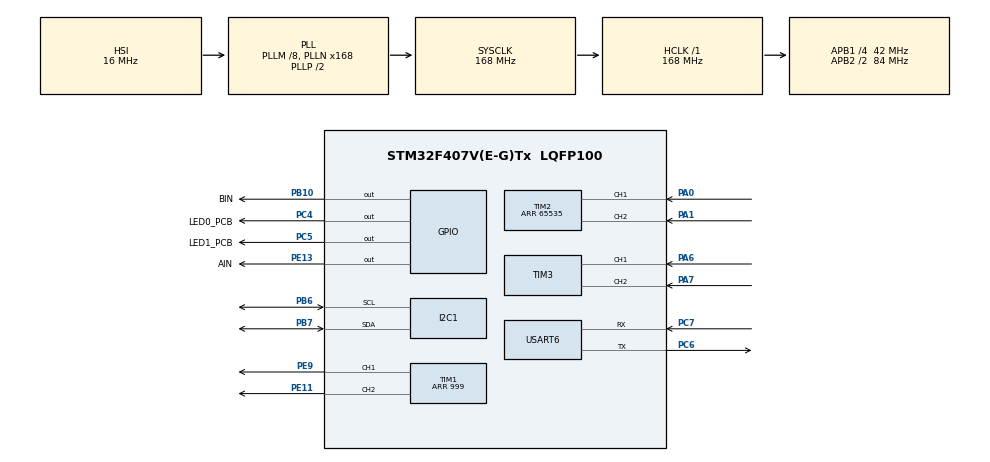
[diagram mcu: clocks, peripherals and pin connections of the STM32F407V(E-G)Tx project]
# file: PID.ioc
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Mcu.Family=STM32F4
Mcu.Name=STM32F407V(E-G)Tx
Mcu.Package=LQFP100
NVIC.PriorityGroup=NVIC_PRIORITYGROUP_4
NVIC.TIM4_IRQn=true\:0\:0\:false\:false\:true\:true\:true\:true
NVIC.USART6_IRQn=true\:0\:0\:false\:false\:true\:true\:true\:true
PA0-WKUP.Signal=S_TIM2_CH1_ETR
PA1.Signal=S_TIM2_CH2
PA13.Mode=Serial_Wire
PA13.Signal=SYS_JTMS-SWDIO
PA14.Mode=Serial_Wire
PA14.Signal=SYS_JTCK-SWCLK
PA6.Signal=S_TIM3_CH1
PA7.Signal=S_TIM3_CH2
PB10.GPIO_Label=BIN
PB10.Signal=GPIO_Output
PB6.Mode=I2C
PB6.Signal=I2C1_SCL
PB7.Mode=I2C
PB7.Signal=I2C1_SDA
PC4.GPIO_Label=LED0_PCB
PC4.Signal=GPIO_Output
PC5.GPIO_Label=LED1_PCB
PC5.Signal=GPIO_Output
PC6.Mode=Asynchronous
PC6.Signal=USART6_TX
PC7.Mode=Asynchronous
PC7.Signal=USART6_RX
PE11.Signal=S_TIM1_CH2
PE13.GPIO_Label=AIN
PE13.Signal=GPIO_Output
PE9.Signal=S_TIM1_CH1
PH0-OSC_IN.Mode=HSE-External-Oscillator
PH0-OSC_IN.Signal=RCC_OSC_IN
PH1-OSC_OUT.Mode=HSE-External-Oscillator
PH1-OSC_OUT.Signal=RCC_OSC_OUT
ProjectManager.HeapSize=0x200
ProjectManager.StackSize=0x400
ProjectManager.TargetToolchain=MDK-ARM V5.32
RCC.48MHZClocksFreq_Value=84000000
RCC.AHBFreq_Value=168000000
RCC.APB1CLKDivider=RCC_HCLK_DIV4
RCC.APB1Freq_Value=42000000
RCC.APB1TimFreq_Value=84000000
RCC.APB2CLKDivider=RCC_HCLK_DIV2
RCC.APB2Freq_Value=84000000
RCC.APB2TimFreq_Value=168000000
RCC.CortexFreq_Value=168000000
RCC.HCLKFreq_Value=168000000
RCC.HSE_VALUE=25000000
RCC.HSI_VALUE=16000000
RCC.LSE_VALUE=32768
RCC.PLLM=8
RCC.PLLN=168
RCC.SYSCLKFreq_VALUE=168000000
RCC.SYSCLKSource=RCC_SYSCLKSOURCE_PLLCLK
RCC.VCOOutputFreq_Value=336000000
SH.S_TIM1_CH1.0=TIM1_CH1,PWM Generation1 CH1
SH.S_TIM1_CH2.0=TIM1_CH2,PWM Generation2 CH2
SH.S_TIM2_CH1_ETR.0=TIM2_CH1,Encoder_Interface
SH.S_TIM2_CH2.0=TIM2_CH2,Encoder_Interface
SH.S_TIM3_CH1.0=TIM3_CH1,Encoder_Interface
SH.S_TIM3_CH2.0=TIM3_CH2,Encoder_Interface
TIM1.Channel-PWM\ Generation1\ CH1=TIM_CHANNEL_1
TIM1.Channel-PWM\ Generation2\ CH2=TIM_CHANNEL_2
TIM1.Period=999
TIM2.EncoderMode=TIM_ENCODERMODE_TI12
TIM2.Period=65535
TIM3.EncoderMode=TIM_ENCODERMODE_TI12
TIM4.AutoReloadPreload=TIM_AUTORELOAD_PRELOAD_DISABLE
TIM4.Period=999
TIM4.Prescaler=83
USART6.VirtualMode=VM_ASYNC
VP_TIM1_VS_ClockSourceINT.Mode=Internal
VP_TIM4_VS_ClockSourceINT.Mode=Internal
board=custom

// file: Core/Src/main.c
/* USER CODE BEGIN Header */
/**
  ******************************************************************************
  * @file           : main.c
  * @brief          : Main program body
  ******************************************************************************
  * @attention
  *
  * Copyright (c) 2026 STMicroelectronics.
  * All rights reserved.
  *
  * This software is licensed under terms that can be found in the LICENSE file
  * in the root directory of this software component.
  * If no LICENSE file comes with this software, it is provided AS-IS.
  *
  ******************************************************************************
  */
/* USER CODE END Header */
#include "main.h"
#include "i2c.h"
#include "tim.h"
#include "usart.h"
#include "gpio.h"

/* USER CODE BEGIN Includes */

#include "./Log.h"
#include "Motor_AT4950.h"
#include "./PID_Node.h"
#include <stdbool.h>
#include <stdlib.h>
// #include "mpu6050_user.h"

/* USER CODE END Includes */

/* USER CODE BEGIN PD */

#define WHEEL_CIRCUMFERENCE 0.1508f   // 车轮周长 m
#define EFFECTIVE_PPR 1040            // 每转脉冲数
// #define ENCODER_DIFF_LIMIT   100    // 单周期最大合理增量，按你的实际调整
// #define ENCODER_DIFF_DEAD    0.5f   // 死区，噪声

// #define ENCODER_DIFF_LIMIT   300     // 单周期最大合理增量，根据实际调整
// #define ENCODER_DEAD_ZONE    2       // 增量死区
// #define MED_N                5       // 中值滤波窗口（奇数）
// #define AVG_N                6       // 滑动平均窗口
// #define SPEED_LPF_ALPHA      0.15f   // 速度一阶低通系数
/* USER CODE END PD */

/* USER CODE BEGIN PM */

//串口发送函数
void ysy_tx(const char* buffer, size_t buffer_size)
{
  HAL_UART_Transmit(&huart6,(uint8_t*)buffer,buffer_size,100);
}

// ========== 左轮底层函数 ==========
// 假设左轮PWM用定时器1的通道1（ARR=10000），IN1接PA1
void Left_PWM_Set(uint16_t ccr_value) {
    __HAL_TIM_SET_COMPARE(&htim1, TIM_CHANNEL_1, ccr_value);
}
void Left_IN1_Set(uint8_t level) {
    HAL_GPIO_WritePin(AIN_GPIO_Port, AIN_Pin, level);
}

// ========== 右轮底层函数 ==========
// 假设右轮PWM用定时器1的通道2（ARR=10000），IN1接PA2
void Right_PWM_Set(uint16_t ccr_value) {
    __HAL_TIM_SET_COMPARE(&htim1, TIM_CHANNEL_2, ccr_value);
}
void Right_IN1_Set(uint8_t level) {
    HAL_GPIO_WritePin(BIN_GPIO_Port, BIN_Pin, level);
}

/* USER CODE END PM */

/* USER CODE BEGIN PV */

MotorAT4950 motor1;
MotorAT4950 motor2;
PID_Node motor1_Pid;
PID_Node motor2_Pid;

/* 走直线参数 */
float   line_speed     = 0.5f;      // 基础速度 m/s
int32_t total_pulse_L  = 0;         // 左轮累计脉冲
int32_t total_pulse_R  = 0;         // 右轮累计脉冲
float   sync_integral  = 0.0f;      // 同步 PI 积分

/* 同步 PI 参数，先给初值，后面调 */
#define SYNC_KP  0.0005f
#define SYNC_KI  0.00002f
#define SYNC_LIMIT 0.3f

// /* ★ 新增：航向环 */
// PID_Node  yaw_Pid;
// float     target_yaw      = 0.0f;
// float     yaw_correction  = 0.0f;

// #define YAW_KP            3.0f
// #define YAW_KI            0.05f
// #define YAW_KD            0.8f
// #define YAW_OUTPUT_LIMIT  0.4f
// #define YAW_DEADBAND      0.5f

/* USER CODE END PV */

void SystemClock_Config(void);
/* USER CODE BEGIN PFP */

float Actual_Speed_A = 0;
float Actual_Speed_B = 0;

/* USER CODE END PFP */

/* USER CODE BEGIN 0 */

 // 编码器速度反馈（在中断中调用）
void Control_UpdateSpeedFeedback(int32_t diff_A, int32_t diff_B, float dt)
{
	//     // ---- 1. 增量限幅，防止噪声尖峰 ----
  //  if (diff_A >  ENCODER_DIFF_LIMIT) diff_A =  ENCODER_DIFF_LIMIT;
  //  if (diff_A < -ENCODER_DIFF_LIMIT) diff_A = -ENCODER_DIFF_LIMIT;
  //  if (diff_B >  ENCODER_DIFF_LIMIT) diff_B =  ENCODER_DIFF_LIMIT;
  //  if (diff_B < -ENCODER_DIFF_LIMIT) diff_B = -ENCODER_DIFF_LIMIT;

	// 	    // 2. 死区：如果增量很小，直接当0，防止静止抖动
  //  if (abs(diff_A) < 2) diff_A = 0;
  //  if (abs(diff_B) < 2) diff_B = 0;

    if (dt > 0.0f) {
        float dt_ms = dt / 1000.0f;
        Actual_Speed_A = (diff_A * WHEEL_CIRCUMFERENCE) / (EFFECTIVE_PPR * dt_ms);
        Actual_Speed_B =  (diff_B * WHEEL_CIRCUMFERENCE) / (EFFECTIVE_PPR * dt_ms);
    }

    // 简单低通滤波
    static float filtered_A = 0, filtered_B = 0;
    filtered_A = 0.8f * filtered_A + 0.2f * Actual_Speed_A;
    filtered_B = 0.8f * filtered_B + 0.2f * Actual_Speed_B;
    Actual_Speed_A = filtered_A;
    Actual_Speed_B = filtered_B;

// 			    // ---- 1. 增量限幅，防止噪声尖峰 ----
//    if (diff_A >  ENCODER_DIFF_LIMIT) diff_A =  ENCODER_DIFF_LIMIT;
//    if (diff_A < -ENCODER_DIFF_LIMIT) diff_A = -ENCODER_DIFF_LIMIT;
//    if (diff_B >  ENCODER_DIFF_LIMIT) diff_B =  ENCODER_DIFF_LIMIT;
//    if (diff_B < -ENCODER_DIFF_LIMIT) diff_B = -ENCODER_DIFF_LIMIT;

//    // ---- 2. 死区，防止静止抖动 ----
//    if (abs(diff_A) < ENCODER_DEAD_ZONE) diff_A = 0;
//    if (abs(diff_B) < ENCODER_DEAD_ZONE) diff_B = 0;

//    // ---- 3. 计算原始速度 ----
//    float spd_A = 0, spd_B = 0;
//    if (dt > 0.0f) {
//        float dt_s = dt / 1000.0f;
//        spd_A = (diff_A * WHEEL_CIRCUMFERENCE) / (EFFECTIVE_PPR * dt_s);
//        spd_B = (diff_B * WHEEL_CIRCUMFERENCE) / (EFFECTIVE_PPR * dt_s);
//    }

//    // ---- 4. 中值滤波（去单点尖峰） ----
//    static float med_buf_A[MED_N] = {0}, med_buf_B[MED_N] = {0};
//    static int   med_idx_A = 0, med_idx_B = 0;

//    med_buf_A[med_idx_A] = spd_A;
//    med_idx_A = (med_idx_A + 1) % MED_N;
//    float tmp_A[MED_N];
//    for (int i = 0; i < MED_N; i++) tmp_A[i] = med_buf_A[i];
//    for (int i = 0; i < MED_N - 1; i++) {
//        for (int j = 0; j < MED_N - 1 - i; j++) {
//            if (tmp_A[j] > tmp_A[j + 1]) {
//                float t = tmp_A[j]; tmp_A[j] = tmp_A[j + 1]; tmp_A[j + 1] = t;
//            }
//        }
//    }
//    spd_A = tmp_A[MED_N / 2];

//    med_buf_B[med_idx_B] = spd_B;
//    med_idx_B = (med_idx_B + 1) % MED_N;
//    float tmp_B[MED_N];
//    for (int i = 0; i < MED_N; i++) tmp_B[i] = med_buf_B[i];
//    for (int i = 0; i < MED_N - 1; i++) {
//        for (int j = 0; j < MED_N - 1 - i; j++) {
//            if (tmp_B[j] > tmp_B[j + 1]) {
//                float t = tmp_B[j]; tmp_B[j] = tmp_B[j + 1]; tmp_B[j + 1] = t;
//            }
//        }
//    }
//    spd_B = tmp_B[MED_N / 2];

//    // ---- 5. 滑动平均 ----
//    static float avg_buf_A[AVG_N] = {0}, avg_buf_B[AVG_N] = {0};
//    static int   avg_idx_A = 0, avg_idx_B = 0;

//    avg_buf_A[avg_idx_A] = spd_A;
//    avg_idx_A = (avg_idx_A + 1) % AVG_N;
//    float sum_A = 0;
//    for (int i = 0; i < AVG_N; i++) sum_A += avg_buf_A[i];
//    spd_A = sum_A / AVG_N;

//    avg_buf_B[avg_idx_B] = spd_B;
//    avg_idx_B = (avg_idx_B + 1) % AVG_N;
//    float sum_B = 0;
//    for (int i = 0; i < AVG_N; i++) sum_B += avg_buf_B[i];
//    spd_B = sum_B / AVG_N;

//    // ---- 6. 一阶低通滤波 ----
//    static float filtered_A = 0, filtered_B = 0;
//    filtered_A = (1.0f - SPEED_LPF_ALPHA) * filtered_A + SPEED_LPF_ALPHA * spd_A;
//    filtered_B = (1.0f - SPEED_LPF_ALPHA) * filtered_B + SPEED_LPF_ALPHA * spd_B;

//    Actual_Speed_A = filtered_A;
//    Actual_Speed_B = filtered_B;
}

// /* ★ 新增：角度误差归一化 */
// static float NormalizeAngleError(float error)
// {
//     while (error >  180.0f) error -= 360.0f;
//     while (error < -180.0f) error += 360.0f;
//     return error;
// }

// /* ★ 新增：航向环的误差计算（带死区） */
// static float YawErrorCalculation(float setpoint, float measured)
// {
//     float err = NormalizeAngleError(setpoint - measured);
//     if (fabsf(err) < YAW_DEADBAND) err = 0.0f;
//     return err;
// }

/* USER CODE END 0 */

int main(void)
{

  /* MCU Configuration--------------------------------------------------------*/

  /* Reset of all peripherals, Initializes the Flash interface and the Systick. */
  HAL_Init();

  /* Configure the system clock */
  SystemClock_Config();

  /* Initialize all configured peripherals */
  MX_GPIO_Init();
  MX_TIM1_Init();
  MX_USART6_UART_Init();
  MX_TIM2_Init();
  MX_TIM3_Init();
  MX_TIM4_Init();
  MX_I2C1_Init();
  /* USER CODE BEGIN 2 */

  //开启PWM输出
  HAL_TIM_PWM_Start(&htim1,TIM_CHANNEL_1);
  HAL_TIM_PWM_Start(&htim1,TIM_CHANNEL_2);

  //开启编码器模式
  HAL_TIM_Encoder_Start(&htim2, TIM_CHANNEL_ALL);
  HAL_TIM_Encoder_Start(&htim3, TIM_CHANNEL_ALL);

  //初始化电机驱动
  MotorInit_AT46950(&motor1 ,Left_PWM_Set,Left_IN1_Set,1000);
  MotorInit_AT46950(&motor2 ,Right_PWM_Set,Right_IN1_Set,1000);

  //设置电机初始方向
  SetDefaultDirection(&motor1,High_Level);
  SetDefaultDirection(&motor2,High_Level);

  //设置电机初始速度
  Motor_setSpeed(&motor1,0);
  Motor_setSpeed(&motor2,0);

  //初始化Log日志模块
  LOG_Init(ysy_tx);
  //设置日志输出等级为DEBUG
  LOG_Set_Level(LOG_LEVEL_DEBUG);

  //初始化PID控制器
  PID_Node_Init(&motor1_Pid, "Motor1_PID", 700.0f, 3.0f, 3.0f);
  PID_Node_Init(&motor2_Pid, "Motor2_PID", 700.0f, 3.0f, 3.0f);

  PID_Node_SetIntegralAttenuationKp(&motor1_Pid, 0.9999f);
	PID_Node_SetIntegralAttenuationKp(&motor2_Pid, 0.9999f);

  // PID_Node_SetSetpoint(&motor1_Pid, 0.5f);
  // PID_Node_SetSetpoint(&motor2_Pid, 0.5f);

  // 设置motor1的PID限制参数
  PID_Node_SetLimit(&motor1_Pid, (PID_Limit){
    .setpoint_min = 0.0f,
    .setpoint_max = 2.0f,
    .input_min = 0.0f,
    .input_max = 2.0f,
    .output_min = 0.0f,
    .output_max = 1000.0f,
    .integral_max = 1000.0f,
    .derivative_max = 1000.0f,
    .deadband = 0.00f
  });

  // 设置motor2的PID限制参数
  PID_Node_SetLimit(&motor2_Pid, (PID_Limit){
    .setpoint_min = 0.0f,
    .setpoint_max = 2.0f,
    .input_min = 0.0f,
    .input_max = 2.0f,
    .output_min = 0.0f,
    .output_max = 1000.0f,
    .integral_max = 1000.0f,
    .derivative_max = 1000.0f,
    .deadband = 0.00f
  });

	uint32_t last_tick = 0;
	bool change = false;

  // /* ★ 新增：航向环 PID 初始化 */
  // PID_Node_Init(&yaw_Pid, "Yaw_PID", YAW_KP, YAW_KI, YAW_KD);
  // PID_Node_SetIntegralAttenuationKp(&yaw_Pid, 0.99f);
  // PID_Node_SetLimit(&yaw_Pid, (PID_Limit){
  //     .setpoint_min   = -180.0f, .setpoint_max   = 180.0f,
  //     .input_min      = -180.0f, .input_max      = 180.0f,
  //     .output_min     = -YAW_OUTPUT_LIMIT,
  //     .output_max     =  YAW_OUTPUT_LIMIT,
  //     .integral_max   = 50.0f,
  //     .derivative_max = 200.0f,
  //     .deadband       = 0.0f,
  // });
  // PID_Node_SetCustomCallback(&yaw_Pid, (PID_Custom_Functions){
  //     .custom_error_calculation = YawErrorCalculation,
  // });

  // /* ★ 新增：IMU 初始化 + 校准（校准期间车必须静止） */
  // MPU_Init();
  // MPU6050_Calibrate(200);
  // MPU6050_Update();      // 空跑一次，让 yaw 有值

    // 初始 setpoint，等待 2 秒让车摆好
  PID_Node_SetSetpoint(&motor1_Pid, 0.0f);
  PID_Node_SetSetpoint(&motor2_Pid, 0.0f);

  // 清零编码器，从零开始计数
  __HAL_TIM_SET_COUNTER(&htim2, 0);
  __HAL_TIM_SET_COUNTER(&htim3, 0);
  total_pulse_L = 0;
  total_pulse_R = 0;
  sync_integral = 0.0f;

  HAL_Delay(2000);

  // /* ★ 新增：车静止摆好后，捕获初始航向作为目标 */
  // MPU6050_Update();
  // target_yaw = MPU6050_GetHandle()->yaw;
  // PID_Node_SetSetpoint(&yaw_Pid, target_yaw);

  //开启定时器4
  HAL_TIM_Base_Start_IT(&htim4);

  // 开始走直线
  PID_Node_SetSetpoint(&motor1_Pid, line_speed);
  PID_Node_SetSetpoint(&motor2_Pid, line_speed);

  /* USER CODE END 2 */

  /* Infinite loop */
  /* USER CODE BEGIN WHILE */
  while (1)
  {
    // HAL_GPIO_TogglePin(GPIOC, GPIO_PIN_5);
    // HAL_GPIO_TogglePin(GPIOC, GPIO_PIN_4);
    // HAL_Delay(1000);
    //  Motor_setSpeed(&motor1,1000);
    //  Motor_setSpeed(&motor2,1000);
    // LOG_DEBUG("Testing debug log");
    // if (HAL_GetTick() - last_tick > 5000)
    // {
    //   HAL_GPIO_TogglePin(LED0_PCB_GPIO_Port, LED0_PCB_Pin);
    //   last_tick = HAL_GetTick();
    //   change = !change;
    //   if (change)
    //   {
    //       PID_Node_SetSetpoint(&motor1_Pid, 0.6f);
    //       PID_Node_SetSetpoint(&motor2_Pid, 0.6f);
    //   }
    //   else
    //   {
    //       PID_Node_SetSetpoint(&motor1_Pid, 1.0f);
    //       PID_Node_SetSetpoint(&motor2_Pid, 1.0f);
    //   }
    // }

    // Motor_setSpeed(&motor1, 200);
    // Motor_setSpeed(&motor2, 200);

    LOG_RAW("L=%ld R=%ld A=%.2f B=%.2f\n",
        (long)total_pulse_L, (long)total_pulse_R,
        Actual_Speed_A, Actual_Speed_B);
    LOG_RAW(" %.2f,%.2f\n", Actual_Speed_A, Actual_Speed_B);
    HAL_Delay(20);

    // static uint32_t last_imu_tick = 0;

    // if (HAL_GetTick() - last_imu_tick >= 20)
    // {
    //     last_imu_tick += 20;           // 累加而不是赋值，避免漂移

    //     MPU6050_Update();              // 严格 50Hz 调用

    //     /* 日志降到 10Hz，减少阻塞 */
    //     static uint8_t log_div = 0;
    //     if (++log_div >= 5)
    //     {
    //         log_div = 0;
    //         LOG_RAW("yaw=%.2f tgt=%.2f corr=%.3f A=%.2f B=%.2f\n",
    //                 MPU6050_GetHandle()->yaw,
    //                 target_yaw,
    //                 yaw_correction,
    //                 Actual_Speed_A, Actual_Speed_B);
    //     }
    //   }

    /* USER CODE END WHILE */

  }
}

void SystemClock_Config(void)
{
  RCC_OscInitTypeDef RCC_OscInitStruct = {0};
  RCC_ClkInitTypeDef RCC_ClkInitStruct = {0};

  /** Configure the main internal regulator output voltage
  */
  __HAL_RCC_PWR_CLK_ENABLE();
  __HAL_PWR_VOLTAGESCALING_CONFIG(PWR_REGULATOR_VOLTAGE_SCALE1);

  /** Initializes the RCC Oscillators according to the specified parameters
  * in the RCC_OscInitTypeDef structure.
  */
  RCC_OscInitStruct.OscillatorType = RCC_OSCILLATORTYPE_HSI;
  RCC_OscInitStruct.HSIState = RCC_HSI_ON;
  RCC_OscInitStruct.HSICalibrationValue = RCC_HSICALIBRATION_DEFAULT;
  RCC_OscInitStruct.PLL.PLLState = RCC_PLL_ON;
  RCC_OscInitStruct.PLL.PLLSource = RCC_PLLSOURCE_HSI;
  RCC_OscInitStruct.PLL.PLLM = 8;
  RCC_OscInitStruct.PLL.PLLN = 168;
  RCC_OscInitStruct.PLL.PLLP = RCC_PLLP_DIV2;
  RCC_OscInitStruct.PLL.PLLQ = 4;
  if (HAL_RCC_OscConfig(&RCC_OscInitStruct) != HAL_OK)
  {
    Error_Handler();
  }

  /** Initializes the CPU, AHB and APB buses clocks
  */
  RCC_ClkInitStruct.ClockType = RCC_CLOCKTYPE_HCLK|RCC_CLOCKTYPE_SYSCLK
                              |RCC_CLOCKTYPE_PCLK1|RCC_CLOCKTYPE_PCLK2;
  RCC_ClkInitStruct.SYSCLKSource = RCC_SYSCLKSOURCE_PLLCLK;
  RCC_ClkInitStruct.AHBCLKDivider = RCC_SYSCLK_DIV1;
  RCC_ClkInitStruct.APB1CLKDivider = RCC_HCLK_DIV4;
  RCC_ClkInitStruct.APB2CLKDivider = RCC_HCLK_DIV2;

  if (HAL_RCC_ClockConfig(&RCC_ClkInitStruct, FLASH_LATENCY_5) != HAL_OK)
  {
    Error_Handler();
  }
}

/* USER CODE BEGIN 4 */

void HAL_TIM_PeriodElapsedCallback(TIM_HandleTypeDef *htim)
{
    if (htim->Instance == TIM4) // 检查是否是定时器4的中断
    {
        // // 读取电机1和电机2的速度（假设有函数可以获取速度）
        // float motor1_speed = Motor_getSpeed(&motor1);
        // float motor2_speed = Motor_getSpeed(&motor2);

        // // 更新PID控制器的测量值
        // motor1_Pid.measured_value = motor1_speed;
        // motor2_Pid.measured_value = motor2_speed;

        // // 计算PID输出
        // PID_Node_Compute(&motor1_Pid);
        // PID_Node_Compute(&motor2_Pid);

        // // 设置电机速度为PID输出值
        // Motor_setSpeed(&motor1, motor1_Pid.output);
        // Motor_setSpeed(&motor2, motor2_Pid.output);

        static uint32_t last_motor1_cnt = 0;
        static uint32_t last_motor2_cnt = 0;

        static uint32_t counter = 0;

        if(counter % 2 == 0)
        {
          PID_ExecuteNode(&motor1_Pid,2);
          PID_ExecuteNode(&motor2_Pid,2);
          Motor_setSpeed(&motor1, motor1_Pid.output);
          Motor_setSpeed(&motor2, motor2_Pid.output);
        }

        if(counter % 20 == 0)
        {
          int32_t motor1_cnt = (int32_t)__HAL_TIM_GET_COUNTER(&htim2);
          int32_t motor2_cnt = (int32_t)__HAL_TIM_GET_COUNTER(&htim3);
          int32_t diff_A = (motor1_cnt - last_motor1_cnt);
          int32_t diff_B = (motor2_cnt - last_motor2_cnt);

          diff_A = -diff_A; // 根据编码器方向调整符号

          Control_UpdateSpeedFeedback(diff_A, diff_B, 20); // 假设 dt 为 20 ms
          last_motor1_cnt = motor1_cnt;
          last_motor2_cnt = motor2_cnt;

          PID_Node_UpdateMeasurement(&motor1_Pid, Actual_Speed_A);
          PID_Node_UpdateMeasurement(&motor2_Pid, Actual_Speed_B);

         // ===== 走直线同步修正 =====

          total_pulse_L += diff_A;
          total_pulse_R += diff_B;

            // 到终点就停车
          float sync_error = (float)(total_pulse_L - total_pulse_R);
          sync_integral += sync_error * 0.02f;
          float sync_correction = SYNC_KP * sync_error + SYNC_KI * sync_integral;
          if (sync_correction >  SYNC_LIMIT) sync_correction =  SYNC_LIMIT;
          if (sync_correction < -SYNC_LIMIT) sync_correction = -SYNC_LIMIT;
          PID_Node_SetSetpoint(&motor1_Pid, line_speed - sync_correction);
          PID_Node_SetSetpoint(&motor2_Pid, line_speed + sync_correction);

          __HAL_TIM_SET_COUNTER(&htim2, 0); // 重置计数器
          __HAL_TIM_SET_COUNTER(&htim3, 0); // 重置计数器
          last_motor1_cnt = 0;
          last_motor2_cnt = 0;
      }

        // static uint8_t times = 0;

        // if (counter % 500 == 0) // 每500次中断（假设
        // {
        //     LOG_INFO("current times: %d", times++);
        // }
        counter ++;
    }

}

/* USER CODE END 4 */

void Error_Handler(void)
{
  __disable_irq();
  while (1)
  {
  }
}
